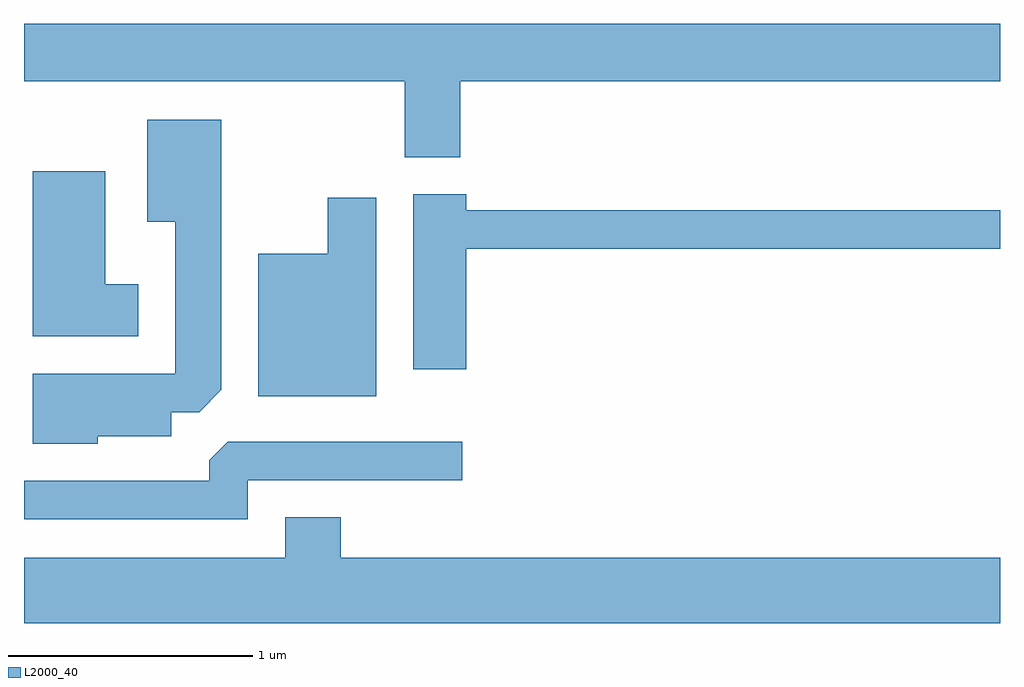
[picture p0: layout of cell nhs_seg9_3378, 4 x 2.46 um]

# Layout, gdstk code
import gdstk
lib = gdstk.Library(unit=1e-6, precision=1e-09)
def P(c, l, *ps):  # polygons
    for p in ps: c.add(gdstk.Polygon(p, *l))
L2000_40 = (2000, 40)

nhs_seg9_3378 = lib.new_cell('nhs_seg9_3378')
P(nhs_seg9_3378, L2000_40, [(285.399,2056.196),(287.611,2056.196),(287.611,2056.432),(283.611,2056.432),(283.611,2056.196),(285.171,2056.196),(285.171,2055.886),(285.399,2055.886)],
  [(283.914,2054.741),(284.214,2054.741),(284.214,2054.841),(284.329,2054.841),(284.419,2054.932),(284.419,2056.039),(284.116,2056.039),(284.116,2055.621),(284.231,2055.621),(284.231,2054.999),(283.646,2054.999),(283.646,2054.711),(283.914,2054.711)],
  [(284.079,2055.364),(283.944,2055.364),(283.944,2055.829),(283.646,2055.829),(283.646,2055.151),(284.079,2055.151)],
  [(285.424,2055.511),(287.611,2055.511),(287.611,2055.669),(285.424,2055.669),(285.424,2055.734),(285.206,2055.734),(285.206,2055.016),(285.424,2055.016)],
  [(285.054,2055.719),(284.856,2055.719),(284.856,2055.489),(284.571,2055.489),(284.571,2054.906),(285.054,2054.906)],
  [(284.529,2054.561),(285.408,2054.561),(285.408,2054.719),(284.447,2054.719),(284.371,2054.644),(284.371,2054.559),(283.611,2054.559),(283.611,2054.401),(284.529,2054.401)],
  [(287.611,2054.244),(284.909,2054.244),(284.909,2054.409),(284.681,2054.409),(284.681,2054.244),(283.611,2054.244),(283.611,2053.976),(287.611,2053.976)])

lib.write_gds('nhs_seg9_3378.gds')
